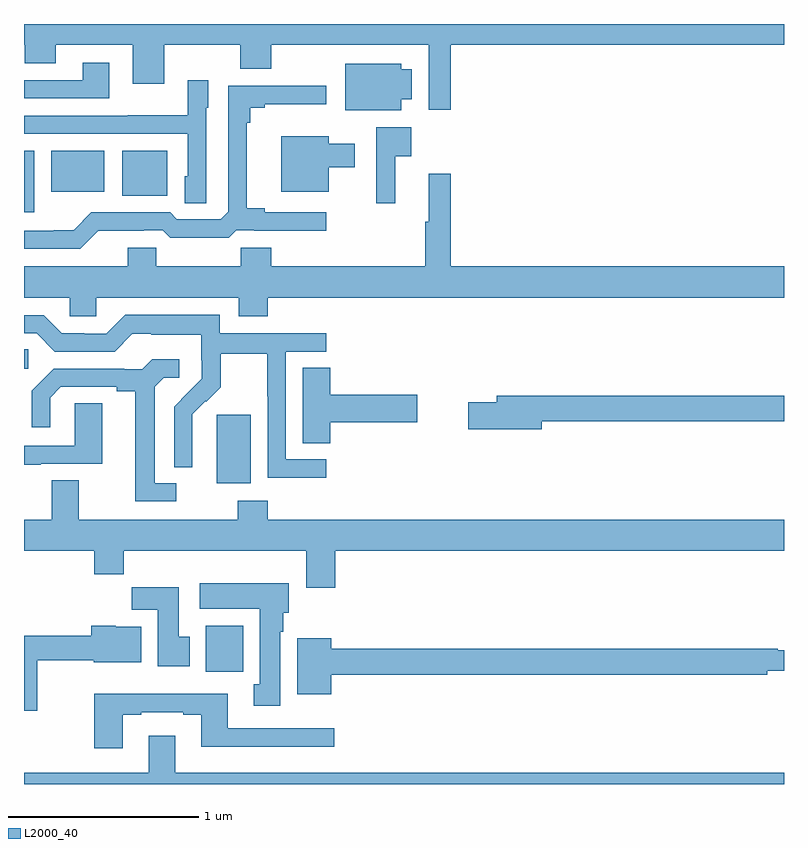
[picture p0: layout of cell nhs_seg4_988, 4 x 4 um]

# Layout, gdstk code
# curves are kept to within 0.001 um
import gdstk
lib = gdstk.Library(unit=1e-6, precision=1e-09)
def R(c, l, rs):  # rectangles x0, y0, x1, y1
    for r in rs: c.add(gdstk.rectangle(r[:2], r[2:], *l))
def P(c, l, *ps):  # polygons
    for p in ps: c.add(gdstk.Polygon(p, *l))
L2000_40 = (2000, 40)

nhs_seg4_988 = lib.new_cell('nhs_seg4_988')
R(nhs_seg4_988, L2000_40, [(161.957,821.492,162.154,821.734), (162.014,822.482,162.193,822.843), (161,823.086,161.023,823.187), (161,823.908,161.055,824.232), (161.516,823.997,161.755,824.233), (161.144,824.018,161.422,824.233)])
P(nhs_seg4_988, L2000_40, [(163.247,824.792),(165,824.792),(165,824.9),(161,824.9),(161,824.792),(161.003,824.792),(161.003,824.693),(161.167,824.693),(161.167,824.792),(161.573,824.792),(161.573,824.586),(161.737,824.586),(161.737,824.792),(162.137,824.792),(162.137,824.664),(162.301,824.664),(162.301,824.792),(163.131,824.792),(163.131,824.448),(163.247,824.448)],
  [(161.449,824.695),(161.309,824.695),(161.309,824.604),(161,824.604),(161,824.508),(161.449,824.508)],
  [(162.985,824.504),(163.042,824.504),(163.042,824.662),(162.985,824.662),(162.985,824.692),(162.692,824.692),(162.692,824.447),(162.985,824.447)],
  [(161.958,824.46),(161.971,824.46),(161.971,824.605),(161.862,824.605),(161.862,824.419),(161.545,824.419),(161.545,824.418),(161,824.418),(161,824.322),(161.862,824.322),(161.862,824.1),(161.846,824.1),(161.846,823.957),(161.958,823.957)],
  [(161.39,823.811),(161.63,823.811),(161.63,823.815),(161.73,823.815),(161.77,823.776),(162.077,823.776),(162.117,823.815),(162.211,823.815),(162.211,823.811),(162.592,823.811),(162.592,823.908),(162.268,823.908),(162.268,823.931),(162.173,823.931),(162.173,824.381),(162.191,824.381),(162.191,824.458),(162.268,824.458),(162.268,824.477),(162.592,824.477),(162.592,824.574),(162.075,824.574),(162.075,823.911),(162.036,823.872),(161.805,823.872),(161.769,823.908),(161.355,823.908),(161.261,823.814),(161.156,823.814),(161.156,823.812),(161,823.812),(161,823.716),(161.295,823.716)],
  [(162.953,824.204),(163.039,824.204),(163.039,824.356),(162.855,824.356),(162.855,823.956),(162.953,823.956)],
  [(162.604,824.147),(162.742,824.147),(162.742,824.269),(162.604,824.269),(162.604,824.308),(162.353,824.308),(162.353,824.018),(162.604,824.018)],
  [(162.284,823.46),(165,823.46),(165,823.624),(163.247,823.624),(163.247,824.113),(163.13,824.113),(163.13,823.86),(163.111,823.86),(163.111,823.624),(162.302,823.624),(162.302,823.722),(162.142,823.722),(162.142,823.624),(161.697,823.624),(161.697,823.722),(161.546,823.722),(161.546,823.624),(161,823.624),(161,823.46),(161.241,823.46),(161.241,823.362),(161.379,823.362),(161.379,823.46),(162.131,823.46),(162.131,823.361),(162.284,823.361)],
  [(162.592,822.609),(162.378,822.609),(162.378,823.176),(162.592,823.176),(162.592,823.272),(162.03,823.272),(162.03,823.369),(161.533,823.369),(161.433,823.269),(161.318,823.269),(161.318,823.272),(161.199,823.272),(161.103,823.368),(161,823.368),(161,823.272),(161.067,823.272),(161.163,823.176),(161.478,823.176),(161.571,823.269),(161.671,823.269),(161.671,823.265),(161.934,823.265),(161.934,823.131),(161.936,823.131),(161.936,823.034),(161.79,822.886),(161.79,822.568),(161.886,822.568),(161.885,822.845),(161.955,822.915),(161.958,822.912),(162.035,822.989),(162.035,823.164),(162.28,823.164),(162.28,822.94),(162.282,822.94),(162.282,822.511),(162.592,822.511)],
  [(161.8,822.483),(161.689,822.483),(161.689,822.991),(161.736,823.038),(161.818,823.038),(161.818,823.135),(161.674,823.135),(161.622,823.083),(161.528,823.083),(161.528,823.086),(161.156,823.086),(161.04,822.97),(161.04,822.777),(161.137,822.777),(161.137,822.933),(161.194,822.99),(161.489,822.99),(161.489,822.968),(161.585,822.968),(161.585,822.387),(161.8,822.387)],
  [(162.611,822.803),(163.069,822.803),(163.069,822.95),(162.611,822.95),(162.611,823.091),(162.467,823.091),(162.467,822.694),(162.611,822.694)],
  [(163.726,822.808),(165,822.808),(165,822.944),(163.487,822.944),(163.487,822.908),(163.338,822.908),(163.338,822.766),(163.726,822.766)],
  [(161.089,822.585),(161.413,822.585),(161.413,822.905),(161.268,822.905),(161.268,822.681),(161,822.681),(161,822.581),(161.089,822.581)],
  [(162.284,822.391),(162.124,822.391),(162.124,822.292),(161.287,822.292),(161.287,822.5),(161.147,822.5),(161.147,822.292),(161,822.292),(161,822.128),(161.369,822.128),(161.369,822.004),(161.525,822.004),(161.525,822.128),(162.485,822.128),(162.485,821.934),(162.638,821.934),(162.638,822.128),(165,822.128),(165,822.292),(162.284,822.292)],
  [(162.349,821.702),(162.364,821.702),(162.364,821.802),(162.394,821.802),(162.394,821.956),(161.925,821.956),(161.925,821.822),(162.242,821.822),(162.242,821.426),(162.209,821.426),(162.209,821.313),(162.349,821.313)],
  [(161.872,821.676),(161.815,821.676),(161.815,821.935),(161.566,821.935),(161.566,821.816),(161.705,821.816),(161.705,821.52),(161.872,821.52)],
  [(161.07,821.551),(161.366,821.551),(161.366,821.54),(161.617,821.54),(161.617,821.728),(161.484,821.728),(161.484,821.734),(161.354,821.734),(161.354,821.68),(161,821.68),(161,821.286),(161.07,821.286)],
  [(162.616,821.476),(164.912,821.476),(164.912,821.495),(165,821.495),(165,821.605),(164.966,821.605),(164.966,821.612),(162.616,821.612),(162.616,821.668),(162.437,821.668),(162.437,821.372),(162.616,821.372)],
  [(161.521,821.265),(161.617,821.265),(161.617,821.277),(161.837,821.277),(161.837,821.265),(161.933,821.265),(161.933,821.096),(162.634,821.096),(162.634,821.193),(162.073,821.193),(162.073,821.374),(161.369,821.374),(161.369,821.088),(161.521,821.088)],
  [(165,820.96),(161.797,820.96),(161.797,821.155),(161.657,821.155),(161.657,820.96),(161,820.96),(161,820.9),(165,820.9)])

lib.write_gds('nhs_seg4_988.gds')
